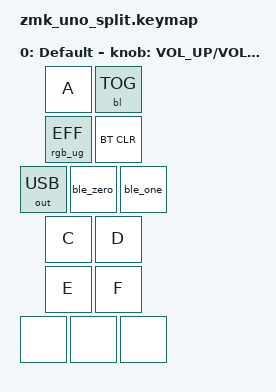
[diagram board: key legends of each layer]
/*
 * Copyright (c) 2022 The ZMK Contributors
 *
 * SPDX-License-Identifier: MIT
 */

#include <behaviors.dtsi>
#include <dt-bindings/zmk/keys.h>
#include <dt-bindings/zmk/backlight.h>
#include <dt-bindings/zmk/bt.h>
#include <dt-bindings/zmk/ext_power.h>
#include <dt-bindings/zmk/outputs.h>
#include <dt-bindings/zmk/rgb.h>

// Uncomment the following block if using the "Direct Wire" jumper to switch the matrix to a direct wire.

/* :REMOVE ME

&kscan_direct_comp { status = "okay"; };
&kscan_direct { status = "okay"; };
&kscan_matrix_comp { status = "disabled"; };
&kscan_matrix { status = "disabled"; };

/ {
    chosen {
        zmk,matrix-transform = &split_direct_matrix_transform;
        zmk,kscan = &kscan_direct_comp;
    };
};

REMOVE ME: */


/ {
    macros {
        ZMK_MACRO(ble_zero,
            wait-ms = <1>;
            tap-ms = <1>;
            bindings = <&out OUT_BLE &bt BT_SEL 0>;
        )
        ZMK_MACRO(ble_one,
            wait-ms = <1>;
            tap-ms = <1>;
            bindings = <&out OUT_BLE &bt BT_SEL 1>;
        )
    };

    keymap {
        compatible = "zmk,keymap";

        default_layer {
            display-name = "Default";
            bindings = <
                &kp A &bl BL_TOG
                &rgb_ug RGB_EFF &bt BT_CLR

                &out OUT_USB &ble_zero &ble_one

                &kp C &kp D
                &kp E &kp F
                &none &none &none
           >;

           sensor-bindings = <&inc_dec_kp C_VOL_UP C_VOL_DN &inc_dec_kp PG_UP PG_DN>;
        };
    };
};
